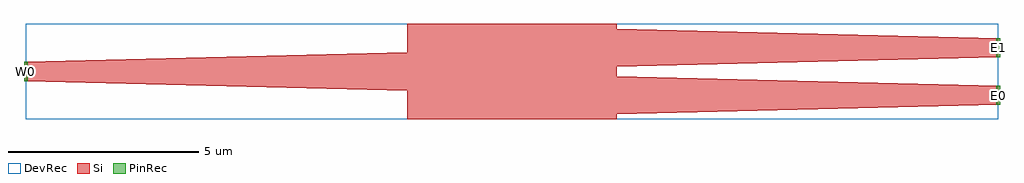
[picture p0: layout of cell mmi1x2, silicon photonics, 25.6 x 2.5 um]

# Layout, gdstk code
import gdstk
lib = gdstk.Library(unit=1e-6, precision=1e-09)
def R(c, l, rs):  # rectangles x0, y0, x1, y1
    for r in rs: c.add(gdstk.rectangle(r[:2], r[2:], *l))
def P(c, l, *ps):  # polygons
    for p in ps: c.add(gdstk.Polygon(p, *l))
Si = (1, 0)
PinRec = (1, 10)
DevRec = (68, 0)

mmi1x2 = lib.new_cell('mmi1x2')
R(mmi1x2, Si, [(10,-1.25,15.496,1.25)])
P(mmi1x2, Si, [(25.496,-0.875),(15.496,-1.125),(15.496,-0.125),(25.496,-0.375)],
  [(25.496,0.375),(15.496,0.125),(15.496,1.125),(25.496,0.875)],
  [(0,0.25),(10,0.5),(10,-0.5),(0,-0.25)])
R(mmi1x2, PinRec, [(25.446,-0.875,25.546,-0.375), (-0.05,-0.25,0.05,0.25), (25.446,0.375,25.546,0.875)])
R(mmi1x2, DevRec, [(0,-1.25,25.496,1.25)])
mmi1x2.add(gdstk.Label('E0', (25.496,-0.625), layer=1, texttype=10))
mmi1x2.add(gdstk.Label('E1', (25.496,0.625), layer=1, texttype=10))
mmi1x2.add(gdstk.Label('W0', (0,0), layer=1, texttype=10))

lib.write_gds('mmi1x2.gds')
